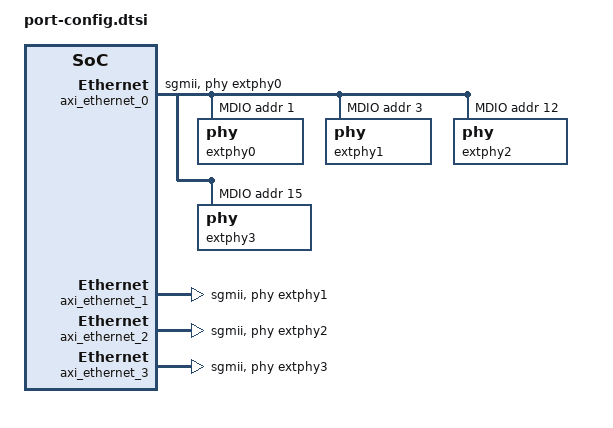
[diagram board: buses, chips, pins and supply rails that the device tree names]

    &axi_ethernet_0 {  
    	/delete-property/ xlnx,phy-type;
        local-mac-address = [00 0a 35 00 01 22];  
        phy-handle = <&extphy0>;
        xlnx,has-mdio = <0x1>;  
        phy-mode = "sgmii";  
        mdio {  
            #address-cells = <1>;  
            #size-cells = <0>;  
            extphy0: phy@1 {  
                device_type = "ethernet-phy";  
                reg = <1>;
                xlnx,phy-type = <0x4>;
                ti,fifo-depth = <0x1>;    
                enet-phy-lane-swap;
            };  
            extphy1: phy@3 {  
                device_type = "ethernet-phy";  
                reg = <3>;
                xlnx,phy-type = <0x4>;
                ti,fifo-depth = <0x1>;                
                enet-phy-lane-swap;
            };  
            extphy2: phy@12 {  
                device_type = "ethernet-phy";  
                reg = <12>;
                xlnx,phy-type = <0x4>;
                ti,fifo-depth = <0x1>;                
                enet-phy-lane-swap;
            };  
            extphy3: phy@15 {  
                device_type = "ethernet-phy";  
                reg = <15>;
                xlnx,phy-type = <0x4>;
                ti,fifo-depth = <0x1>;                
                enet-phy-lane-swap;
            };  
        };  
    };  
      
    &axi_ethernet_1 {  
    	/delete-property/ xlnx,phy-type;
        local-mac-address = [00 0a 35 00 01 23];  
        phy-handle = <&extphy1>;
        xlnx,has-mdio = <0x1>;  
        phy-mode = "sgmii";  
        mdio {  
            #address-cells = <1>;  
            #size-cells = <0>;  
        };  
    };  
      
    &axi_ethernet_2 {  
    	/delete-property/ xlnx,phy-type;
        local-mac-address = [00 0a 35 00 01 24];  
        phy-handle = <&extphy2>;
        xlnx,has-mdio = <0x1>;  
        phy-mode = "sgmii";  
        mdio {  
            #address-cells = <1>;  
            #size-cells = <0>;  
        };  
    };  
      
    &axi_ethernet_3 {  
    	/delete-property/ xlnx,phy-type;
        local-mac-address = [00 0a 35 00 01 25];  
        phy-handle = <&extphy3>;
        xlnx,has-mdio = <0x1>;  
        phy-mode = "sgmii";  
        mdio {  
            #address-cells = <1>;  
            #size-cells = <0>;  
        };  
    };  

